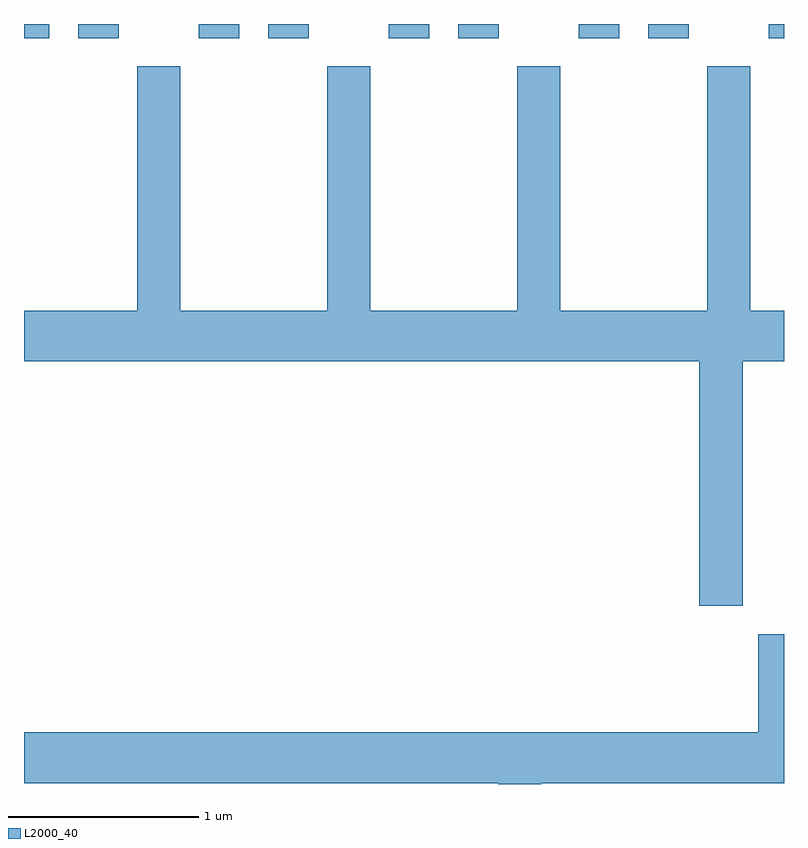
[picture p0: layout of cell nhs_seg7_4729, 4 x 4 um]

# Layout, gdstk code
import gdstk
lib = gdstk.Library(unit=1e-6, precision=1e-09)
def R(c, l, rs):  # rectangles x0, y0, x1, y1
    for r in rs: c.add(gdstk.rectangle(r[:2], r[2:], *l))
def P(c, l, *ps):  # polygons
    for p in ps: c.add(gdstk.Polygon(p, *l))
L2000_40 = (2000, 40)

nhs_seg7_4729 = lib.new_cell('nhs_seg7_4729')
R(nhs_seg7_4729, L2000_40, [(329.611,1778.176,329.744,1778.252), (329.896,1778.176,330.109,1778.252), (330.531,1778.176,330.744,1778.252), (330.896,1778.176,331.109,1778.252), (331.531,1778.176,331.744,1778.252), (331.896,1778.176,332.109,1778.252), (332.531,1778.176,332.744,1778.252), (332.896,1778.176,333.109,1778.252), (333.531,1778.176,333.611,1778.252)])
P(nhs_seg7_4729, L2000_40, [(333.394,1776.476),(333.611,1776.476),(333.611,1776.744),(333.434,1776.744),(333.434,1778.029),(333.206,1778.029),(333.206,1776.744),(332.434,1776.744),(332.434,1778.029),(332.206,1778.029),(332.206,1776.744),(331.434,1776.744),(331.434,1778.029),(331.206,1778.029),(331.206,1776.744),(330.434,1776.744),(330.434,1778.029),(330.206,1778.029),(330.206,1776.744),(329.611,1776.744),(329.611,1776.476),(333.166,1776.476),(333.166,1775.191),(333.394,1775.191)],
  [(332.334,1774.256),(333.611,1774.256),(333.611,1775.039),(333.476,1775.039),(333.476,1774.524),(329.611,1774.524),(329.611,1774.256),(332.106,1774.256),(332.106,1774.252),(332.334,1774.252)])

lib.write_gds('nhs_seg7_4729.gds')
